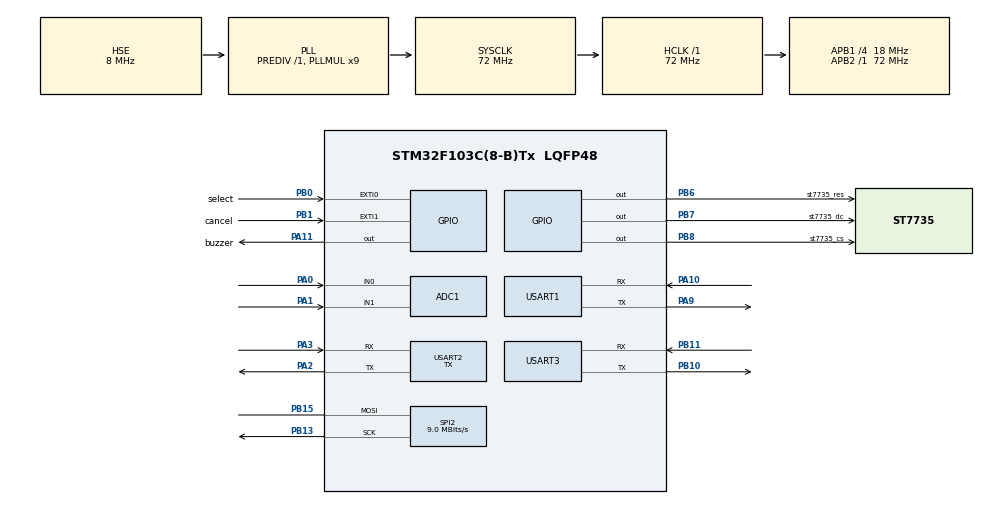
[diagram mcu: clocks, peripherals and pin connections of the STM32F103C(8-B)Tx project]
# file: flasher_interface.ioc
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ADC1.Channel-0\#ChannelRegularConversion=ADC_CHANNEL_0
ADC1.Channel-1\#ChannelRegularConversion=ADC_CHANNEL_1
ADC1.DiscontinuousConvMode=ENABLE
ADC1.NbrOfConversion=2
ADC1.NbrOfConversionFlag=1
ADC1.NbrOfDiscConversion=1
ADC1.Rank-0\#ChannelRegularConversion=1
ADC1.Rank-1\#ChannelRegularConversion=2
ADC1.SamplingTime-0\#ChannelRegularConversion=ADC_SAMPLETIME_1CYCLE_5
ADC1.SamplingTime-1\#ChannelRegularConversion=ADC_SAMPLETIME_1CYCLE_5
ADC1.master=1
Mcu.Family=STM32F1
Mcu.Name=STM32F103C(8-B)Tx
Mcu.Package=LQFP48
NVIC.PriorityGroup=NVIC_PRIORITYGROUP_4
PA0-WKUP.Signal=ADCx_IN0
PA1.Signal=ADCx_IN1
PA10.Mode=Asynchronous
PA10.Signal=USART1_RX
PA11.GPIO_Label=buzzer
PA11.Signal=GPIO_Output
PA2.Mode=Asynchronous
PA2.Signal=USART2_TX
PA3.Mode=Asynchronous
PA3.Signal=USART2_RX
PA9.Mode=Asynchronous
PA9.Signal=USART1_TX
PB0.GPIO_Label=select
PB0.GPIO_PuPd=GPIO_PULLDOWN
PB0.Signal=GPXTI0
PB1.GPIO_Label=cancel
PB1.GPIO_PuPd=GPIO_PULLDOWN
PB1.Signal=GPXTI1
PB10.Mode=Asynchronous
PB10.Signal=USART3_TX
PB11.Mode=Asynchronous
PB11.Signal=USART3_RX
PB13.Mode=Simplex_Bidirectional_Master
PB13.Signal=SPI2_SCK
PB15.Mode=Simplex_Bidirectional_Master
PB15.Signal=SPI2_MOSI
PB6.GPIO_Label=st7735_res
PB6.Signal=GPIO_Output
PB7.GPIO_Label=st7735_dc
PB7.Signal=GPIO_Output
PB8.GPIO_Label=st7735_cs
PB8.Signal=GPIO_Output
PD0-OSC_IN.Mode=HSE-External-Oscillator
PD0-OSC_IN.Signal=RCC_OSC_IN
PD1-OSC_OUT.Mode=HSE-External-Oscillator
PD1-OSC_OUT.Signal=RCC_OSC_OUT
ProjectManager.HeapSize=0x200
ProjectManager.StackSize=0x400
ProjectManager.TargetToolchain=Makefile
RCC.ADCPresc=RCC_ADCPCLK2_DIV6
RCC.AHBFreq_Value=72000000
RCC.APB1CLKDivider=RCC_HCLK_DIV4
RCC.APB1Freq_Value=18000000
RCC.APB1TimFreq_Value=36000000
RCC.APB2Freq_Value=72000000
RCC.APB2TimFreq_Value=72000000
RCC.HCLKFreq_Value=72000000
RCC.PLLMUL=RCC_PLL_MUL9
RCC.PLLSourceVirtual=RCC_PLLSOURCE_HSE
RCC.SYSCLKFreq_VALUE=72000000
RCC.SYSCLKSource=RCC_SYSCLKSOURCE_PLLCLK
RCC.USBFreq_Value=72000000
SH.ADCx_IN0.0=ADC1_IN0,IN0
SH.ADCx_IN1.0=ADC1_IN1,IN1
SPI2.CalculateBaudRate=9.0 MBits/s
SPI2.Direction=SPI_DIRECTION_1LINE
SPI2.Mode=SPI_MODE_MASTER
SPI2.VirtualType=VM_MASTER
USART1.VirtualMode=VM_ASYNC
USART2.Mode=MODE_TX
USART2.VirtualMode=VM_ASYNC
USART3.VirtualMode=VM_ASYNC
VP_SYS_VS_ND.Mode=No_Debug
board=custom

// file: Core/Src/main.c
/* USER CODE BEGIN Header */
/**
  ******************************************************************************
  * @file           : main.c
  * @brief          : Main program body
  ******************************************************************************
  * @attention
  *
  * Copyright (c) 2022 STMicroelectronics.
  * All rights reserved.
  *
  * This software is licensed under terms that can be found in the LICENSE file
  * in the root directory of this software component.
  * If no LICENSE file comes with this software, it is provided AS-IS.
  *
  ******************************************************************************
  */
/* USER CODE END Header */
#include "main.h"
#include "adc.h"
#include "spi.h"
#include "usart.h"
#include "gpio.h"

/* USER CODE BEGIN Includes */
#include "joypad.h"
#include "menu.h"
#include "plotter.h"
#include "utils.h"

#ifdef LOG_DEBUG
#include "logger.h"
#endif

/* USER CODE END Includes */

/* USER CODE BEGIN PV */
volatile uint8_t select_button = 0;
volatile uint8_t cancel_button = 0;
/* USER CODE END PV */

void SystemClock_Config(void);
/* USER CODE BEGIN PFP */

static MENU_PositionTypeDef mainGetPos();
static MENU_ButtonTypeDef mainGetCanBut();
static MENU_ButtonTypeDef mainGetSelBut();

/* USER CODE END PFP */

/* USER CODE BEGIN 0 */
JOY_HandleTypeDef g_joypad_h;
PLOT_HandletypeDef g_plotter_h;

static MENU_PositionTypeDef mainGetPos(){
  JOY_OutTypeDef menu_pos;
  joyRead(g_joypad_h, &menu_pos, JOY_MEASURE);
  return menu_pos.pos;
}

static MENU_ButtonTypeDef mainGetSelBut(){
  GPIO_PinState pin = HAL_GPIO_ReadPin(select_GPIO_Port, select_Pin);
  static uint32_t tick = 0;
  if(pin == GPIO_PIN_SET && (HAL_GetTick() - tick > 500)){
    tick = HAL_GetTick();
    return MENU_PRESSED;
  }
  return MENU_NOT_PRESSED;
}

static MENU_ButtonTypeDef mainGetCanBut(){
  GPIO_PinState pin = HAL_GPIO_ReadPin(cancel_GPIO_Port, cancel_Pin);
  static uint32_t tick = 0;
  if(pin == GPIO_PIN_SET && (HAL_GetTick() - tick > 500)){
    tick = HAL_GetTick();
    return MENU_PRESSED;
  }
  return MENU_NOT_PRESSED;
}
/* USER CODE END 0 */

int main(void)
{

  /* MCU Configuration--------------------------------------------------------*/

  /* Reset of all peripherals, Initializes the Flash interface and the Systick. */
  HAL_Init();

  /* Configure the system clock */
  SystemClock_Config();

  /* Initialize all configured peripherals */
  MX_GPIO_Init();
  MX_ADC1_Init();
  MX_USART1_UART_Init();
  MX_USART3_UART_Init();
  MX_SPI2_Init();
  MX_USART2_UART_Init();
  /* USER CODE BEGIN 2 */

  #ifdef LOG_DEBUG
  logInit(LOG_LOW_PRIO, LOG_ENABLED, utilsWriteLog);
  logOpen();
  #endif

  //create joypad
  int16_t joy_thresholds[] = {100,100,-100,-100};
  g_joypad_h = joyInit(NULL, joy_thresholds);
  joyOpen(g_joypad_h, userJoyGetVals);

  //create menu handle
  MENU_HandleTypeDef menu_h;
  menu_h = menuInit(utilsMenuInit, mainGetSelBut, mainGetCanBut, mainGetPos, utilsDrawScreen);

  //create plotter
  g_plotter_h = plotterInit(utilsPlotWrite, utilsPlotRead, PLOT_WAIT_FIN, 10000.0);
  plotterOpen(g_plotter_h, utilsPlotOpen);

  //draws the initial menu screen

  /* USER CODE END 2 */

  /* Infinite loop */
  /* USER CODE BEGIN WHILE */
  while (1)
  {
    //performs function selected on the menu
    menu_h = menuNextState(menu_h);
    menuRunState(menu_h);
  }

    //for now endless cycle
    //TODO: Communication with interface while in error for possible recovery
    for(;;){};

    /* USER CODE END WHILE */

}

void SystemClock_Config(void)
{
  RCC_OscInitTypeDef RCC_OscInitStruct = {0};
  RCC_ClkInitTypeDef RCC_ClkInitStruct = {0};
  RCC_PeriphCLKInitTypeDef PeriphClkInit = {0};

  /** Initializes the RCC Oscillators according to the specified parameters
  * in the RCC_OscInitTypeDef structure.
  */
  RCC_OscInitStruct.OscillatorType = RCC_OSCILLATORTYPE_HSE;
  RCC_OscInitStruct.HSEState = RCC_HSE_ON;
  RCC_OscInitStruct.HSEPredivValue = RCC_HSE_PREDIV_DIV1;
  RCC_OscInitStruct.HSIState = RCC_HSI_ON;
  RCC_OscInitStruct.PLL.PLLState = RCC_PLL_ON;
  RCC_OscInitStruct.PLL.PLLSource = RCC_PLLSOURCE_HSE;
  RCC_OscInitStruct.PLL.PLLMUL = RCC_PLL_MUL9;
  if (HAL_RCC_OscConfig(&RCC_OscInitStruct) != HAL_OK)
  {
    Error_Handler();
  }

  /** Initializes the CPU, AHB and APB buses clocks
  */
  RCC_ClkInitStruct.ClockType = RCC_CLOCKTYPE_HCLK|RCC_CLOCKTYPE_SYSCLK
                              |RCC_CLOCKTYPE_PCLK1|RCC_CLOCKTYPE_PCLK2;
  RCC_ClkInitStruct.SYSCLKSource = RCC_SYSCLKSOURCE_PLLCLK;
  RCC_ClkInitStruct.AHBCLKDivider = RCC_SYSCLK_DIV1;
  RCC_ClkInitStruct.APB1CLKDivider = RCC_HCLK_DIV4;
  RCC_ClkInitStruct.APB2CLKDivider = RCC_HCLK_DIV1;

  if (HAL_RCC_ClockConfig(&RCC_ClkInitStruct, FLASH_LATENCY_2) != HAL_OK)
  {
    Error_Handler();
  }
  PeriphClkInit.PeriphClockSelection = RCC_PERIPHCLK_ADC;
  PeriphClkInit.AdcClockSelection = RCC_ADCPCLK2_DIV6;
  if (HAL_RCCEx_PeriphCLKConfig(&PeriphClkInit) != HAL_OK)
  {
    Error_Handler();
  }
}

/* USER CODE BEGIN 4 */

//placeholder IRQ handler for GPIO
void HAL_GPIO_EXTI_Callback(uint16_t GPIO_Pin){
  switch (GPIO_Pin)
  {
  default:
    break;
  }

}
/* USER CODE END 4 */

void Error_Handler(void)
{
  __disable_irq();
  while (1)
  {
  }
}
